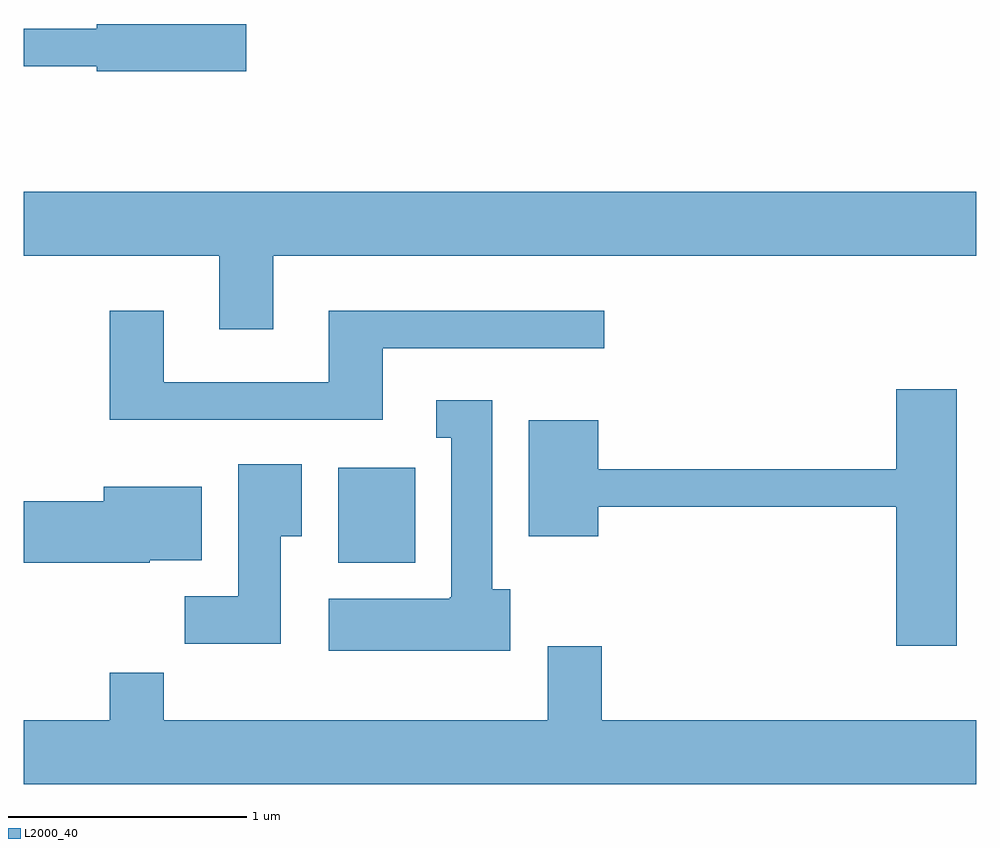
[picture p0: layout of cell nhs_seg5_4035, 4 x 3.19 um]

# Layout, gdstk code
import gdstk
lib = gdstk.Library(unit=1e-6, precision=1e-09)
def R(c, l, rs):  # rectangles x0, y0, x1, y1
    for r in rs: c.add(gdstk.rectangle(r[:2], r[2:], *l))
def P(c, l, *ps):  # polygons
    for p in ps: c.add(gdstk.Polygon(p, *l))
L2000_40 = (2000, 40)

nhs_seg5_4035 = lib.new_cell('nhs_seg5_4035')
R(nhs_seg5_4035, L2000_40, [(306.931,1397.786,307.254,1398.184)])
P(nhs_seg5_4035, L2000_40, [(306.544,1400.049),(305.916,1400.049),(305.916,1400.029),(305.611,1400.029),(305.611,1399.871),(305.916,1399.871),(305.916,1399.851),(306.544,1399.851)],
  [(306.659,1399.076),(309.611,1399.076),(309.611,1399.344),(305.611,1399.344),(305.611,1399.076),(306.431,1399.076),(306.431,1398.766),(306.659,1398.766)],
  [(307.119,1398.686),(308.048,1398.686),(308.048,1398.844),(306.891,1398.844),(306.891,1398.544),(306.199,1398.544),(306.199,1398.844),(305.971,1398.844),(305.971,1398.386),(307.119,1398.386)],
  [(309.529,1398.514),(309.276,1398.514),(309.276,1398.179),(308.024,1398.179),(308.024,1398.384),(307.731,1398.384),(307.731,1397.896),(308.024,1397.896),(308.024,1398.021),(309.276,1398.021),(309.276,1397.436),(309.529,1397.436)],
  [(307.654,1397.674),(307.579,1397.674),(307.579,1398.469),(307.343,1398.469),(307.343,1398.311),(307.406,1398.311),(307.406,1397.64),(307.4,1397.64),(307.4,1397.634),(306.891,1397.634),(306.891,1397.416),(307.654,1397.416)],
  [(306.689,1397.896),(306.779,1397.896),(306.779,1398.199),(306.511,1398.199),(306.511,1397.644),(306.286,1397.644),(306.286,1397.446),(306.689,1397.446)],
  [(306.14,1397.796),(306.359,1397.796),(306.359,1398.104),(305.946,1398.104),(305.946,1398.044),(305.611,1398.044),(305.611,1397.786),(306.14,1397.786)],
  [(309.611,1397.124),(308.039,1397.124),(308.039,1397.434),(307.811,1397.434),(307.811,1397.124),(306.199,1397.124),(306.199,1397.324),(305.971,1397.324),(305.971,1397.124),(305.611,1397.124),(305.611,1396.856),(309.611,1396.856)])

lib.write_gds('nhs_seg5_4035.gds')
